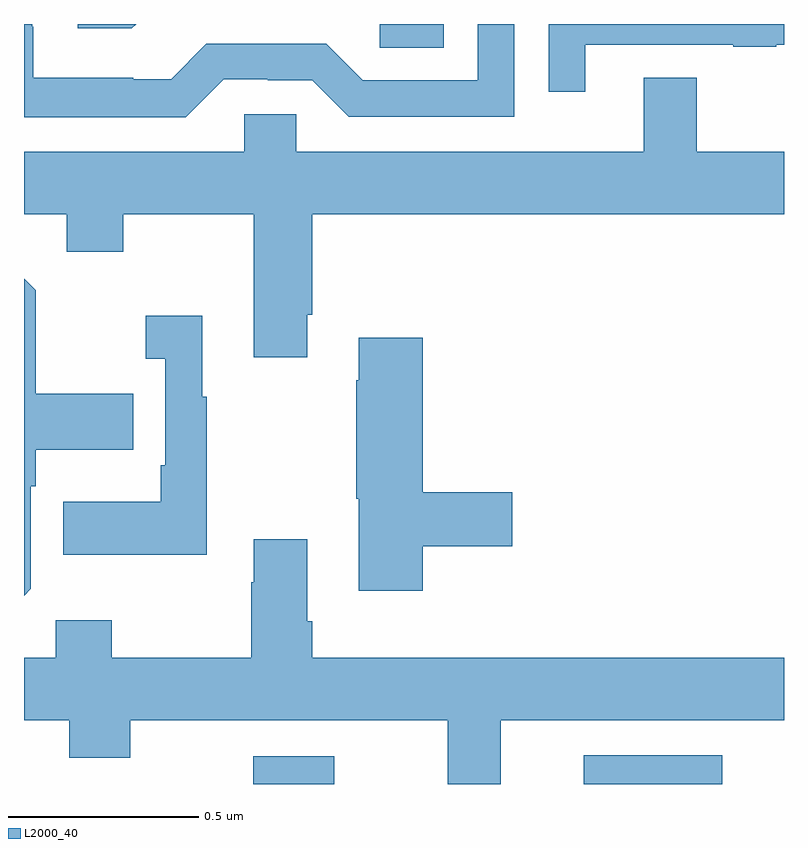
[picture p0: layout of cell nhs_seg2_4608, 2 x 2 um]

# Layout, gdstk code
import gdstk
lib = gdstk.Library(unit=1e-6, precision=1e-09)
def R(c, l, rs):  # rectangles x0, y0, x1, y1
    for r in rs: c.add(gdstk.rectangle(r[:2], r[2:], *l))
def P(c, l, *ps):  # polygons
    for p in ps: c.add(gdstk.Polygon(p, *l))
L2000_40 = (2000, 40)

nhs_seg2_4608 = lib.new_cell('nhs_seg2_4608')
R(nhs_seg2_4608, L2000_40, [(168.603,648.8,168.817,648.873), (169.473,648.8,169.837,648.876), (168.936,650.737,169.104,650.8)])
P(nhs_seg2_4608, L2000_40, [(168.295,650.8),(168.141,650.8),(168.141,650.789),(168.284,650.789)],
  [(168.525,650.655),(168.641,650.655),(168.641,650.652),(168.759,650.652),(168.855,650.556),(169.29,650.556),(169.29,650.8),(169.194,650.8),(169.194,650.652),(168.891,650.652),(168.795,650.748),(168.48,650.748),(168.387,650.655),(168.287,650.655),(168.287,650.659),(168.024,650.659),(168.024,650.793),(168.022,650.793),(168.022,650.8),(168,650.8),(168,650.555),(168.425,650.555)],
  [(169.477,650.745),(169.867,650.745),(169.867,650.74),(169.979,650.74),(169.979,650.745),(170,650.745),(170,650.8),(169.381,650.8),(169.381,650.622),(169.477,650.622)],
  [(168.717,650.562),(168.579,650.562),(168.579,650.464),(168,650.464),(168,650.3),(168.113,650.3),(168.113,650.201),(168.261,650.201),(168.261,650.3),(168.605,650.3),(168.605,649.923),(168.745,649.923),(168.745,650.035),(168.758,650.035),(168.758,650.3),(170,650.3),(170,650.464),(169.771,650.464),(169.771,650.659),(169.631,650.659),(169.631,650.464),(168.717,650.464)],
  [(168.018,649.314),(168.018,649.583),(168.031,649.583),(168.031,649.679),(168.287,649.679),(168.287,649.827),(168.031,649.827),(168.031,650.099),(168,650.13),(168,649.296)],
  [(168.481,649.819),(168.469,649.819),(168.469,650.032),(168.321,650.032),(168.321,649.919),(168.372,649.919),(168.372,649.639),(168.36,649.639),(168.36,649.543),(168.103,649.543),(168.103,649.403),(168.481,649.403)],
  [(169.049,649.426),(169.285,649.426),(169.285,649.568),(169.049,649.568),(169.049,649.975),(168.881,649.975),(168.881,649.862),(168.874,649.862),(168.874,649.551),(168.881,649.551),(168.881,649.308),(169.049,649.308)],
  [(169.255,648.968),(170,648.968),(170,649.132),(168.758,649.132),(168.758,649.228),(168.745,649.228),(168.745,649.444),(168.605,649.444),(168.605,649.331),(168.598,649.331),(168.598,649.132),(168.231,649.132),(168.231,649.231),(168.084,649.231),(168.084,649.132),(168,649.132),(168,648.968),(168.119,648.968),(168.119,648.869),(168.279,648.869),(168.279,648.968),(169.115,648.968),(169.115,648.8),(169.255,648.8)])

lib.write_gds('nhs_seg2_4608.gds')
